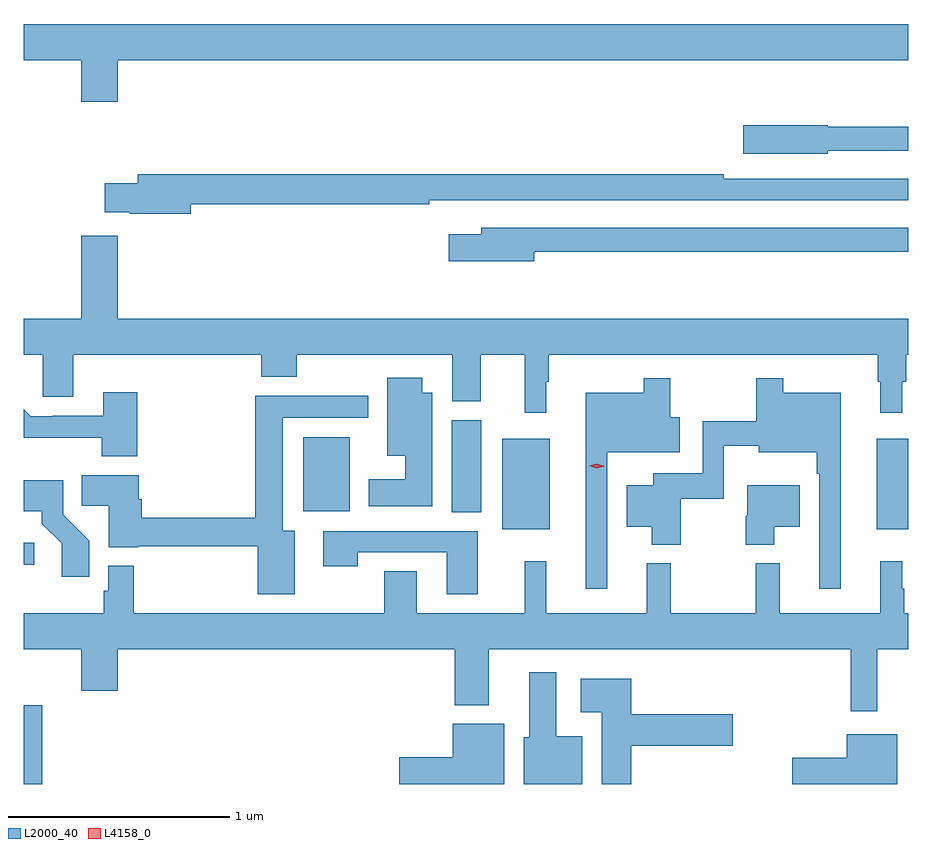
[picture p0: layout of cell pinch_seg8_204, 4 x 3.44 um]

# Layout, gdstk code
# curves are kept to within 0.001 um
import gdstk
lib = gdstk.Library(unit=1e-6, precision=1e-09)
def R(c, l, rs):  # rectangles x0, y0, x1, y1
    for r in rs: c.add(gdstk.rectangle(r[:2], r[2:], *l))
def P(c, l, *ps):  # polygons
    for p in ps: c.add(gdstk.Polygon(p, *l))
L2000_40 = (2000, 40)
L4158_0 = (4158, 0)

pinch_seg8_204 = lib.new_cell('pinch_seg8_204')
R(pinch_seg8_204, L2000_40, [(620.291,1143.863,620.375,1144.219), (620.291,1144.855,620.338,1144.953), (622.454,1145.015,622.669,1145.425), (624.149,1145.015,624.291,1145.425), (622.226,1145.092,622.36,1145.508), (621.554,1145.096,621.766,1145.431)])
P(pinch_seg8_204, L2000_40, [(620.716,1147.136),(624.291,1147.136),(624.291,1147.3),(620.291,1147.3),(620.291,1147.136),(620.552,1147.136),(620.552,1146.948),(620.716,1146.948)],
  [(623.928,1146.726),(624.291,1146.726),(624.291,1146.835),(623.928,1146.835),(623.928,1146.843),(623.544,1146.843),(623.544,1146.713),(623.928,1146.713)],
  [(621.046,1146.484),(622.124,1146.484),(622.124,1146.504),(624.291,1146.504),(624.291,1146.6),(623.456,1146.6),(623.456,1146.62),(620.807,1146.62),(620.807,1146.579),(620.658,1146.579),(620.658,1146.449),(620.77,1146.449),(620.77,1146.442),(621.046,1146.442)],
  [(622.6,1146.27),(624.291,1146.27),(624.291,1146.378),(622.361,1146.378),(622.361,1146.349),(622.212,1146.349),(622.212,1146.227),(622.6,1146.227)],
  [(620.716,1146.343),(620.552,1146.343),(620.552,1145.968),(620.291,1145.968),(620.291,1145.804),(620.376,1145.804),(620.376,1145.614),(620.515,1145.614),(620.515,1145.804),(621.365,1145.804),(621.365,1145.705),(621.525,1145.705),(621.525,1145.804),(622.229,1145.804),(622.229,1145.593),(622.357,1145.593),(622.357,1145.804),(622.556,1145.804),(622.556,1145.541),(622.654,1145.541),(622.654,1145.681),(622.666,1145.681),(622.666,1145.804),(624.153,1145.804),(624.153,1145.681),(624.164,1145.681),(624.164,1145.541),(624.263,1145.541),(624.263,1145.681),(624.281,1145.681),(624.281,1145.804),(624.291,1145.804),(624.291,1145.968),(620.716,1145.968)],
  [(622.138,1145.632),(622.093,1145.632),(622.093,1145.701),(621.935,1145.701),(621.935,1145.348),(622.016,1145.348),(622.016,1145.242),(621.851,1145.242),(621.851,1145.12),(622.138,1145.12)],
  [(623.986,1145.632),(623.725,1145.632),(623.725,1145.698),(623.604,1145.698),(623.604,1145.503),(623.361,1145.503),(623.361,1145.268),(623.138,1145.268),(623.138,1145.215),(623.018,1145.215),(623.018,1145.027),(623.132,1145.027),(623.132,1144.946),(623.262,1144.946),(623.262,1145.152),(623.457,1145.152),(623.457,1145.393),(623.615,1145.393),(623.615,1145.363),(623.877,1145.363),(623.877,1145.267),(623.889,1145.267),(623.889,1144.746),(623.986,1144.746)],
  [(622.929,1145.363),(623.257,1145.363),(623.257,1145.521),(623.215,1145.521),(623.215,1145.698),(623.094,1145.698),(623.094,1145.632),(622.832,1145.632),(622.832,1144.746),(622.929,1144.746)],
  [(620.804,1145.635),(620.651,1145.635),(620.651,1145.529),(620.422,1145.529),(620.422,1145.526),(620.322,1145.526),(620.291,1145.557),(620.291,1145.429),(620.644,1145.43),(620.644,1145.345),(620.804,1145.345)],
  [(621.517,1145.008),(621.463,1145.008),(621.463,1145.52),(621.85,1145.52),(621.85,1145.618),(621.338,1145.618),(621.338,1145.066),(620.825,1145.066),(620.825,1145.15),(620.812,1145.15),(620.812,1145.26),(620.554,1145.26),(620.554,1145.122),(620.675,1145.122),(620.675,1144.934),(620.808,1144.934),(620.808,1144.938),(621.35,1144.938),(621.35,1144.722),(621.517,1144.722)],
  [(620.588,1144.962),(620.469,1145.081),(620.469,1145.236),(620.292,1145.236),(620.292,1145.096),(620.372,1145.096),(620.372,1145.041),(620.463,1144.951),(620.463,1144.8),(620.588,1144.8)],
  [(623.686,1145.027),(623.8,1145.027),(623.8,1145.215),(623.564,1145.215),(623.564,1145.075),(623.557,1145.075),(623.557,1144.946),(623.686,1144.946)],
  [(622.345,1145.007),(621.645,1145.007),(621.645,1144.848),(621.801,1144.848),(621.801,1144.911),(622.205,1144.911),(622.205,1144.722),(622.345,1144.722)],
  [(624.03,1144.191),(624.151,1144.191),(624.151,1144.472),(624.291,1144.472),(624.291,1144.636),(624.274,1144.636),(624.274,1144.745),(624.263,1144.745),(624.263,1144.87),(624.164,1144.87),(624.164,1144.636),(623.711,1144.636),(623.711,1144.861),(623.601,1144.861),(623.601,1144.636),(623.218,1144.636),(623.218,1144.861),(623.108,1144.861),(623.108,1144.636),(622.655,1144.636),(622.655,1144.87),(622.556,1144.87),(622.556,1144.636),(622.069,1144.636),(622.069,1144.826),(621.922,1144.826),(621.922,1144.636),(620.789,1144.636),(620.789,1144.849),(620.673,1144.849),(620.673,1144.737),(620.653,1144.737),(620.653,1144.636),(620.291,1144.636),(620.291,1144.472),(620.552,1144.472),(620.552,1144.284),(620.716,1144.284),(620.716,1144.472),(622.241,1144.472),(622.241,1144.22),(622.393,1144.22),(622.393,1144.472),(624.03,1144.472)],
  [(622.816,1144.078),(622.699,1144.078),(622.699,1144.369),(622.577,1144.369),(622.577,1144.074),(622.553,1144.074),(622.553,1143.863),(622.816,1143.863)],
  [(623.039,1144.037),(623.497,1144.037),(623.497,1144.179),(623.039,1144.179),(623.039,1144.339),(622.809,1144.339),(622.809,1144.187),(622.904,1144.187),(622.904,1143.863),(623.039,1143.863)],
  [(622.465,1144.135),(622.232,1144.135),(622.232,1143.983),(621.99,1143.983),(621.99,1143.863),(622.465,1143.863)],
  [(624.241,1144.087),(624.014,1144.087),(624.014,1143.981),(623.766,1143.981),(623.766,1143.863),(624.241,1143.863)])
P(pinch_seg8_204, L4158_0, [(622.882,1145.291),(622.848,1145.302),(622.847,1145.302),(622.848,1145.302),(622.883,1145.311),(622.918,1145.3),(622.919,1145.299),(622.918,1145.299)])

lib.write_gds('pinch_seg8_204.gds')
